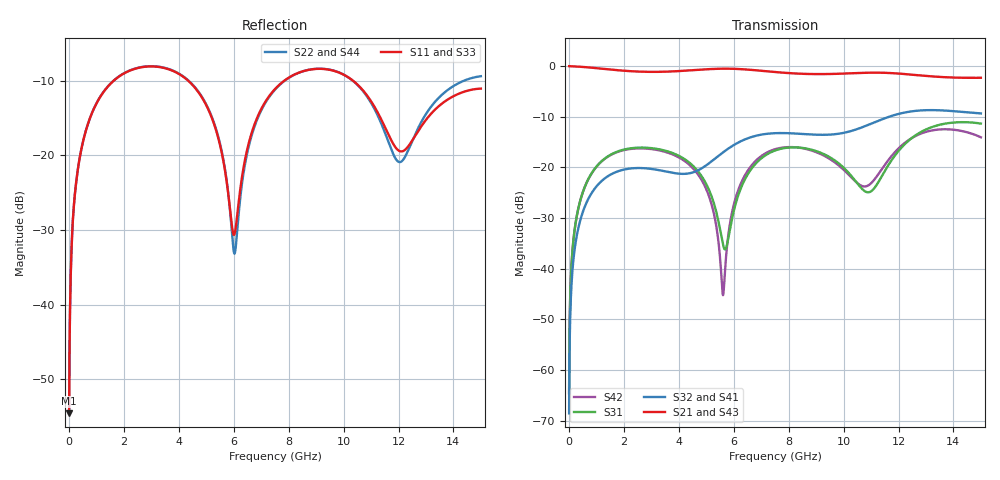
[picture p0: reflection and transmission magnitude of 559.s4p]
! Created with skrf 1.8.0 (http://scikit-rf.org).
# GHz S RI R 50.0
!freq ReS11 ImS11 ReS12 ImS12 ReS13 ImS13
! ReS14 ImS14
! ReS21 ImS21 ReS22 ImS22 ReS23 ImS23
! ReS24 ImS24
! ReS31 ImS31 ReS32 ImS32 ReS33 ImS33
! ReS34 ImS34
! ReS41 ImS41 ReS42 ImS42 ReS43 ImS43
! ReS44 ImS44
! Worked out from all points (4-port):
!   2499 points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, 5 MHz to 15 GHz, reference 50 ohm
!   strongest paths, dB at 5 MHz, 3.476 GHz, 7.19 GHz, 11.1 GHz, 15 GHz:
!     S21: 0.0, -1.1, -1.0, -1.3, -2.3
!     S43: 0.0, -1.1, -1.0, -1.3, -2.3
!     S32: -68.5, -20.7, -13.4, -11.2, -9.3
!     S41: -68.5, -20.8, -13.4, -11.2, -9.4
!     S31: -64.6, -16.6, -17.5, -24.2, -11.3
!     S42: -64.6, -16.9, -17.1, -22.5, -14.0
!   lowest |S11| = -54.5 dB at 5 MHz (marker M1), VSWR 1.00, Z = 50.1 + j0.114 ohm
!   |S11| at or under -10 dB: start of sweep to 1.636 GHz; 4.332 GHz to 7.849 GHz (3.517 GHz wide, 57.7 % of centre); 10.33 GHz to end of sweep
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0.005  0.00149 0.00114  0.9985 -0.00291  7.44e-05 0.000586  -7.23e-05 -0.000368
       0.9985 -0.00291  0.00149 0.00114  -7.23e-05 -0.000368  7.43e-05 0.000586
       7.44e-05 0.000586  -7.23e-05 -0.000368  0.00149 0.00114  0.9985 -0.00291
       -7.23e-05 -0.000368  7.43e-05 0.000586  0.9985 -0.00291  0.00149 0.00114
0.3126303  0.0205 0.0753  0.9721 -0.1814  0.00933 0.0351  -0.00767 -0.0219
           0.9721 -0.1814  0.0205 0.0753  -0.00767 -0.0219  0.00905 0.0352
           0.00933 0.0351  -0.00767 -0.0219  0.0205 0.0753  0.9721 -0.1814
           -0.00767 -0.0219  0.00905 0.0352  0.9721 -0.1814  0.0205 0.0753
1.519383  0.235 0.1896  0.6212 -0.6841  0.1155 0.0673  -0.0833 -0.0176
          0.6212 -0.6841  0.2362 0.1889  -0.0833 -0.0176  0.1118 0.0715
          0.1155 0.0673  -0.0833 -0.0176  0.235 0.1896  0.6211 -0.6842
          -0.0833 -0.0176  0.1118 0.0715  0.6211 -0.6842  0.2362 0.1889
5.608587  0.0468 -0.0819  -0.9022 -0.2743  -0.0155 -0.00797  -0.0369 0.1358
          -0.9022 -0.2743  0.0403 -0.0875  -0.0362 0.136  0.00549 0.000267
          -0.0155 -0.00797  -0.0362 0.136  0.0474 -0.0831  -0.902 -0.2744
          -0.0369 0.1358  0.00549 0.000267  -0.902 -0.2744  0.0405 -0.0888
6.652772  0.0784 0.1173  -0.8805 0.2564  0.0535 0.0818  0.0728 0.1862
          -0.8805 0.2564  0.0705 0.1161  0.0738 0.1858  0.0676 0.0803
          0.0535 0.0818  0.0738 0.1858  0.0782 0.1156  -0.8807 0.2564
          0.0728 0.1862  0.0676 0.0803  -0.8807 0.2564  0.0699 0.1148
9.36015  0.375 -0.0312  0.0231 0.8343  0.0958 -0.0911  0.2034 -0.0519
         0.0231 0.8343  0.3756 -0.0352  0.2032 -0.0535  0.0952 -0.0849
         0.0958 -0.0911  0.2032 -0.0535  0.3735 -0.0325  0.0243 0.8347
         0.2034 -0.0519  0.0952 -0.0849  0.0243 0.8347  0.3746 -0.0348
15  0.2792 -0.00164  0.2223 -0.7343  0.2386 -0.1285  -0.3389 -0.0153
    0.2223 -0.7343  0.3377 -0.0127  -0.3411 -0.0112  0.1985 -0.000207
    0.2386 -0.1285  -0.3411 -0.0112  0.2853 0.000756  0.2175 -0.7325
    -0.3389 -0.0153  0.1985 -0.000207  0.2175 -0.7325  0.3474 -0.0141
